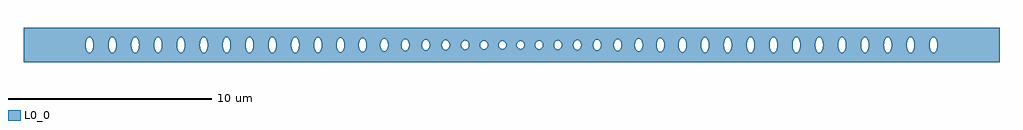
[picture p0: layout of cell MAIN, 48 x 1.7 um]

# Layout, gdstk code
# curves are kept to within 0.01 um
import gdstk
lib = gdstk.Library(unit=1e-6, precision=1e-09)
def P(c, l, *ps):  # polygons
    for p in ps: c.add(gdstk.Polygon(p, *l))
L0_0 = (0, 0)

main = lib.new_cell('MAIN')
P(main, L0_0, [(-20.788,-0.387),(-20.849,-0.342),(-20.9,-0.253),(-20.9,-0.85),(-20.788,-0.85)],
  [(-20.783,0.389),(-20.71,0.383),(-20.658,0.339),(-20.607,0.248),(-20.576,0.132),(-20.576,0.85),(-20.788,0.85)],
  [(-20.576,-0.132),(-20.607,-0.248),(-20.658,-0.339),(-20.726,-0.389),(-20.788,-0.387),(-20.788,-0.85),(-20.576,-0.85)],
  [(24,0.85),(20.9,0.85),(20.9,0.253),(20.944,0.028),(20.936,-0.116),(20.9,-0.253),(20.9,-0.85),(24,-0.85)],
  [(-19.72,0.347),(-19.653,0.391),(-19.586,0.383),(-19.529,0.333),(-19.483,0.248),(-19.483,0.85),(-19.724,0.85)],
  [(-19.483,-0.248),(-19.536,-0.342),(-19.591,-0.385),(-19.653,-0.391),(-19.724,-0.342),(-19.724,-0.85),(-19.483,-0.85)],
  [(-19.82,0.006),(-19.797,0.188),(-19.724,0.342),(-19.724,0.85),(-20.576,0.85),(-20.565,0)],
  [(-18.648,0.261),(-18.598,0.345),(-18.529,0.391),(-18.462,0.383),(-18.407,0.336),(-18.407,0.85),(-18.65,0.85)],
  [(-18.407,-0.336),(-18.462,-0.383),(-18.529,-0.391),(-18.598,-0.345),(-18.65,-0.257),(-18.65,-0.85),(-18.407,-0.85)],
  [(-18.695,0.006),(-18.685,0.132),(-18.65,0.257),(-18.65,0.85),(-19.483,0.85),(-19.483,0.248),(-19.449,0.116),(-19.441,0)],
  [(-17.557,0.147),(-17.524,0.261),(-17.469,0.35),(-17.405,0.391),(-17.346,0.386),(-17.346,0.85),(-17.558,0.85)],
  [(-17.346,-0.386),(-17.405,-0.391),(-17.476,-0.342),(-17.524,-0.261),(-17.558,-0.142),(-17.558,-0.85),(-17.346,-0.85)],
  [(-17.571,0.006),(-17.558,0.142),(-17.558,0.85),(-18.407,0.85),(-18.407,0.336),(-18.339,0.188),(-18.317,0)],
  [(-16.447,0.011),(-16.432,0.153),(-16.398,0.265),(-16.34,0.355),(-16.286,0.389),(-16.286,0.85),(-16.447,0.85)],
  [(-16.286,-0.389),(-16.34,-0.355),(-16.398,-0.265),(-16.436,-0.132),(-16.447,-0.006),(-16.447,-0.85),(-16.286,-0.85)],
  [(-16.28,0.391),(-16.213,0.383),(-16.154,0.33),(-16.105,0.235),(-16.077,0.121),(-16.077,0.85),(-16.286,0.85)],
  [(-16.077,-0.121),(-16.11,-0.248),(-16.161,-0.339),(-16.213,-0.383),(-16.286,-0.389),(-16.286,-0.85),(-16.077,-0.85)],
  [(-16.447,0.006),(-16.447,0.85),(-17.346,0.85),(-17.346,0.386),(-17.285,0.339),(-17.236,0.253),(-17.201,0.121),(-17.192,0)],
  [(-15.218,0.352),(-15.156,0.391),(-15.089,0.383),(-15.023,0.321),(-14.983,0.239),(-14.983,0.85),(-15.222,0.85)],
  [(-14.983,-0.239),(-15.023,-0.321),(-15.089,-0.383),(-15.156,-0.391),(-15.222,-0.347),(-15.222,-0.85),(-14.983,-0.85)],
  [(-15.323,0.006),(-15.296,0.202),(-15.222,0.347),(-15.222,0.85),(-16.077,0.85),(-16.068,0)],
  [(-14.147,0.269),(-14.101,0.345),(-14.032,0.391),(-13.965,0.383),(-13.908,0.333),(-13.908,0.85),(-14.149,0.85)],
  [(-13.908,-0.333),(-13.965,-0.383),(-14.032,-0.391),(-14.101,-0.345),(-14.149,-0.265),(-14.149,-0.85),(-13.908,-0.85)],
  [(-14.198,0.006),(-14.188,0.132),(-14.149,0.265),(-14.149,0.85),(-14.983,0.85),(-14.983,0.239),(-14.951,0.11),(-14.944,0)],
  [(-13.059,0.153),(-13.027,0.261),(-12.972,0.35),(-12.908,0.391),(-12.843,0.384),(-12.843,0.85),(-13.06,0.85)],
  [(-12.843,-0.384),(-12.908,-0.391),(-12.972,-0.35),(-13.027,-0.261),(-13.06,-0.147),(-13.06,-0.85),(-12.843,-0.85)],
  [(-13.074,0.006),(-13.06,0.147),(-13.06,0.85),(-13.908,0.85),(-13.908,0.333),(-13.842,0.188),(-13.819,0)],
  [(-11.95,0.022),(-11.931,0.173),(-11.899,0.269),(-11.838,0.36),(-11.783,0.391),(-11.783,0.85),(-11.95,0.85)],
  [(-11.783,-0.391),(-11.838,-0.36),(-11.899,-0.269),(-11.931,-0.173),(-11.95,-0.017),(-11.95,-0.85),(-11.783,-0.85)],
  [(-11.778,0.392),(-11.716,0.383),(-11.657,0.33),(-11.608,0.235),(-11.579,0.11),(-11.579,0.85),(-11.783,0.85)],
  [(-11.579,-0.11),(-11.608,-0.235),(-11.657,-0.33),(-11.716,-0.383),(-11.783,-0.391),(-11.783,-0.85),(-11.579,-0.85)],
  [(-11.95,0.006),(-11.95,0.85),(-12.843,0.85),(-12.843,0.384),(-12.788,0.339),(-12.739,0.253),(-12.704,0.121),(-12.695,0)],
  [(-10.715,0.355),(-10.66,0.387),(-10.593,0.38),(-10.531,0.325),(-10.483,0.229),(-10.483,0.85),(-10.72,0.85)],
  [(-10.483,-0.229),(-10.531,-0.325),(-10.593,-0.38),(-10.66,-0.387),(-10.72,-0.35),(-10.72,-0.85),(-10.483,-0.85)],
  [(-10.826,0.006),(-10.796,0.211),(-10.72,0.35),(-10.72,0.85),(-11.579,0.85),(-11.571,0)],
  [(-9.65,0.269),(-9.601,0.34),(-9.532,0.378),(-9.472,0.369),(-9.403,0.304),(-9.403,0.85),(-9.652,0.85)],
  [(-9.403,-0.304),(-9.472,-0.369),(-9.532,-0.378),(-9.601,-0.34),(-9.652,-0.266),(-9.652,-0.85),(-9.403,-0.85)],
  [(-9.706,0.003),(-9.687,0.167),(-9.652,0.266),(-9.652,0.85),(-10.483,0.85),(-10.483,0.229),(-10.454,0.11),(-10.447,0)],
  [(-8.574,0.18),(-8.529,0.282),(-8.47,0.344),(-8.404,0.363),(-8.336,0.334),(-8.336,0.85),(-8.575,0.85)],
  [(-8.336,-0.334),(-8.404,-0.363),(-8.47,-0.344),(-8.529,-0.282),(-8.575,-0.175),(-8.575,-0.85),(-8.336,-0.85)],
  [(-8.599,0.005),(-8.575,0.175),(-8.575,0.85),(-9.403,0.85),(-9.403,0.304),(-9.348,0.175),(-9.327,0)],
  [(-7.502,0.103),(-7.474,0.205),(-7.416,0.298),(-7.35,0.339),(-7.279,0.334),(-7.279,0.85),(-7.503,0.85)],
  [(-7.279,-0.334),(-7.35,-0.339),(-7.416,-0.298),(-7.474,-0.205),(-7.503,-0.098),(-7.503,-0.85),(-7.279,-0.85)],
  [(-7.511,0.005),(-7.503,0.85),(-8.336,0.85),(-8.336,0.334),(-8.29,0.282),(-8.252,0.203),(-8.22,0)],
  [(-6.445,0.05),(-6.418,0.172),(-6.369,0.259),(-6.307,0.309),(-6.233,0.317),(-6.233,0.85),(-6.446,0.85)],
  [(-6.233,-0.317),(-6.307,-0.309),(-6.369,-0.259),(-6.418,-0.172),(-6.446,-0.045),(-6.446,-0.85),(-6.233,-0.85)],
  [(-6.447,0.005),(-6.446,0.85),(-7.279,0.85),(-7.279,0.334),(-7.225,0.295),(-7.173,0.213),(-7.139,0.093),(-7.132,0)],
  [(-5.409,0.036),(-5.385,0.15),(-5.328,0.245),(-5.271,0.285),(-5.191,0.291),(-5.191,0.85),(-5.41,0.85)],
  [(-5.191,-0.291),(-5.271,-0.285),(-5.328,-0.245),(-5.385,-0.15),(-5.41,-0.031),(-5.41,-0.85),(-5.191,-0.85)],
  [(-5.411,0.002),(-5.41,0.85),(-6.233,0.85),(-6.233,0.317),(-6.162,0.276),(-6.112,0.205),(-6.084,0.128),(-6.068,0)],
  [(-4.399,0.058),(-4.362,0.17),(-4.305,0.238),(-4.231,0.27),(-4.154,0.257),(-4.154,0.85),(-4.4,0.85)],
  [(-4.154,-0.257),(-4.231,-0.27),(-4.305,-0.238),(-4.362,-0.17),(-4.4,-0.053),(-4.4,-0.85),(-4.154,-0.85)],
  [(-4.403,0.002),(-4.4,0.85),(-5.191,0.85),(-5.191,0.291),(-5.124,0.254),(-5.081,0.199),(-5.045,0.109),(-5.032,0)],
  [(-3.405,0.109),(-3.355,0.192),(-3.28,0.241),(-3.205,0.245),(-3.122,0.199),(-3.122,0.85),(-3.407,0.85)],
  [(-3.122,-0.199),(-3.205,-0.245),(-3.28,-0.241),(-3.355,-0.192),(-3.407,-0.105),(-3.407,-0.85),(-3.122,-0.85)],
  [(-3.425,0.002),(-3.407,0.105),(-3.407,0.85),(-4.154,0.85),(-4.154,0.257),(-4.102,0.219),(-4.059,0.157),(-4.024,0)],
  [(-2.404,0.175),(-2.333,0.22),(-2.248,0.224),(-2.168,0.181),(-2.113,0.099),(-2.113,0.85),(-2.41,0.85)],
  [(-2.113,-0.099),(-2.168,-0.181),(-2.248,-0.224),(-2.333,-0.22),(-2.41,-0.17),(-2.41,-0.85),(-2.113,-0.85)],
  [(-2.473,0.004),(-2.453,0.103),(-2.41,0.17),(-2.41,0.85),(-3.122,0.85),(-3.122,0.199),(-3.07,0.123),(-3.046,0)],
  [(-1.546,0.004),(-1.537,0.065),(-1.504,0.133),(-1.448,0.185),(-1.382,0.209),(-1.382,0.85),(-2.113,0.85),(-2.113,0.099),(-2.094,0)],
  [(-0.633,0.044),(-0.596,0.126),(-0.518,0.187),(-0.429,0.2),(-0.341,0.166),(-0.341,0.85),(-0.634,0.85)],
  [(-0.341,-0.166),(-0.429,-0.2),(-0.518,-0.187),(-0.596,-0.126),(-0.634,-0.04),(-0.634,-0.85),(-0.341,-0.85)],
  [(-0.637,0.004),(-0.634,0.85),(-1.382,0.85),(-1.382,0.209),(-1.305,0.204),(-1.237,0.165),(-1.188,0.099),(-1.167,0)],
  [(0.348,0.17),(0.429,0.2),(0.518,0.187),(0.596,0.126),(0.634,0.04),(0.634,0.85),(0.341,0.85)],
  [(0.634,-0.04),(0.596,-0.126),(0.518,-0.187),(0.429,-0.2),(0.341,-0.166),(0.341,-0.85),(0.634,-0.85)],
  [(0.258,0.004),(0.281,0.096),(0.341,0.166),(0.341,0.85),(-0.341,0.85),(-0.341,0.166),(-0.281,0.096),(-0.258,0)],
  [(1.167,0.004),(1.188,0.099),(1.237,0.165),(1.305,0.204),(1.378,0.21),(1.378,0.85),(0.634,0.85),(0.637,0)],
  [(2.113,0.099),(2.168,0.181),(2.248,0.224),(2.333,0.22),(2.407,0.172),(2.407,0.85),(2.111,0.85)],
  [(2.407,-0.172),(2.333,-0.22),(2.248,-0.224),(2.168,-0.181),(2.111,-0.095),(2.111,-0.85),(2.407,-0.85)],
  [(2.094,0.004),(2.111,0.095),(2.111,0.85),(1.378,0.85),(1.378,0.21),(1.448,0.185),(1.504,0.133),(1.537,0.065),(1.546,0)],
  [(3.126,0.203),(3.2,0.244),(3.291,0.237),(3.359,0.188),(3.406,0.107),(3.406,0.85),(3.121,0.85)],
  [(3.406,-0.107),(3.359,-0.188),(3.288,-0.238),(3.2,-0.244),(3.121,-0.197),(3.121,-0.85),(3.406,-0.85)],
  [(3.046,0.002),(3.066,0.113),(3.121,0.197),(3.121,0.85),(2.407,0.85),(2.407,0.172),(2.453,0.103),(2.473,0)],
  [(4.159,0.259),(4.232,0.27),(4.312,0.232),(4.367,0.16),(4.399,0.055),(4.399,0.85),(4.152,0.85)],
  [(4.399,-0.055),(4.367,-0.16),(4.312,-0.232),(4.232,-0.27),(4.152,-0.256),(4.152,-0.85),(4.399,-0.85)],
  [(4.024,0.002),(4.058,0.155),(4.098,0.215),(4.152,0.256),(4.152,0.85),(3.406,0.85),(3.406,0.107),(3.425,0)],
  [(5.193,0.292),(5.267,0.287),(5.334,0.238),(5.381,0.16),(5.409,0.039),(5.409,0.85),(5.187,0.85)],
  [(5.409,-0.039),(5.381,-0.16),(5.334,-0.238),(5.267,-0.287),(5.187,-0.29),(5.187,-0.85),(5.409,-0.85)],
  [(5.032,0.002),(5.048,0.12),(5.076,0.19),(5.131,0.26),(5.187,0.29),(5.187,0.85),(4.399,0.85),(4.403,0)],
  [(6.236,0.317),(6.307,0.309),(6.369,0.259),(6.418,0.172),(6.445,0.05),(6.445,0.85),(6.23,0.85)],
  [(6.445,-0.05),(6.418,-0.172),(6.369,-0.259),(6.307,-0.309),(6.23,-0.316),(6.23,-0.85),(6.445,-0.85)],
  [(6.068,0.005),(6.084,0.128),(6.112,0.205),(6.162,0.276),(6.23,0.316),(6.23,0.85),(5.409,0.85),(5.411,0)],
  [(7.284,0.336),(7.35,0.339),(7.416,0.298),(7.474,0.205),(7.503,0.098),(7.503,0.85),(7.279,0.85)],
  [(7.503,-0.098),(7.474,-0.205),(7.416,-0.298),(7.35,-0.339),(7.279,-0.334),(7.279,-0.85),(7.503,-0.85)],
  [(7.132,0.005),(7.139,0.093),(7.173,0.213),(7.225,0.295),(7.279,0.334),(7.279,0.85),(6.445,0.85),(6.447,0)],
  [(8.341,0.338),(8.404,0.363),(8.476,0.34),(8.529,0.282),(8.574,0.18),(8.574,0.85),(8.336,0.85)],
  [(8.574,-0.18),(8.529,-0.282),(8.47,-0.344),(8.404,-0.363),(8.336,-0.334),(8.336,-0.85),(8.574,-0.85)],
  [(8.22,0.005),(8.252,0.203),(8.29,0.282),(8.336,0.334),(8.336,0.85),(7.503,0.85),(7.511,0)],
  [(9.404,0.305),(9.463,0.364),(9.525,0.379),(9.59,0.35),(9.649,0.271),(9.649,0.85),(9.4,0.85)],
  [(9.649,-0.271),(9.59,-0.35),(9.525,-0.379),(9.455,-0.359),(9.4,-0.299),(9.4,-0.85),(9.649,-0.85)],
  [(9.327,0.003),(9.346,0.167),(9.4,0.299),(9.4,0.85),(8.574,0.85),(8.574,0.18),(8.599,0)],
  [(10.483,0.229),(10.531,0.325),(10.593,0.38),(10.66,0.387),(10.72,0.35),(10.72,0.85),(10.481,0.85)],
  [(10.72,-0.35),(10.66,-0.387),(10.593,-0.38),(10.531,-0.325),(10.481,-0.225),(10.481,-0.85),(10.72,-0.85)],
  [(10.447,0.006),(10.481,0.225),(10.481,0.85),(9.649,0.85),(9.649,0.271),(9.691,0.15),(9.706,0)],
  [(11.579,0.116),(11.608,0.235),(11.657,0.33),(11.716,0.383),(11.783,0.391),(11.783,0.85),(11.579,0.85)],
  [(11.783,-0.391),(11.716,-0.383),(11.657,-0.33),(11.608,-0.235),(11.579,-0.11),(11.579,-0.85),(11.783,-0.85)],
  [(11.95,0.85),(11.783,0.85),(11.783,0.391),(11.838,0.36),(11.899,0.269),(11.931,0.173),(11.95,0.022)],
  [(11.95,-0.022),(11.931,-0.173),(11.899,-0.269),(11.838,-0.36),(11.783,-0.391),(11.783,-0.85),(11.95,-0.85)],
  [(11.571,0.006),(11.579,0.85),(10.72,0.85),(10.72,0.35),(10.796,0.211),(10.826,0)],
  [(12.846,0.385),(12.908,0.391),(12.972,0.35),(13.027,0.261),(13.059,0.153),(13.059,0.85),(12.841,0.85)],
  [(13.059,-0.153),(13.027,-0.261),(12.972,-0.35),(12.908,-0.391),(12.841,-0.383),(12.841,-0.85),(13.059,-0.85)],
  [(12.695,0.006),(12.704,0.121),(12.739,0.253),(12.788,0.339),(12.841,0.383),(12.841,0.85),(11.95,0.85),(11.95,0)],
  [(13.91,0.336),(13.965,0.383),(14.032,0.391),(14.101,0.345),(14.149,0.265),(14.149,0.85),(13.906,0.85)],
  [(14.149,-0.265),(14.101,-0.345),(14.032,-0.391),(13.965,-0.383),(13.906,-0.33),(13.906,-0.85),(14.149,-0.85)],
  [(13.819,0.006),(13.842,0.188),(13.906,0.33),(13.906,0.85),(13.059,0.85),(13.059,0.153),(13.074,0)],
  [(14.984,0.244),(15.032,0.333),(15.089,0.383),(15.156,0.391),(15.222,0.347),(15.222,0.85),(14.983,0.85)],
  [(15.222,-0.347),(15.156,-0.391),(15.089,-0.383),(15.023,-0.321),(14.983,-0.239),(14.983,-0.85),(15.222,-0.85)],
  [(14.944,0.006),(14.952,0.116),(14.983,0.239),(14.983,0.85),(14.149,0.85),(14.149,0.265),(14.188,0.132),(14.198,0)],
  [(16.078,0.126),(16.105,0.235),(16.154,0.33),(16.213,0.383),(16.283,0.39),(16.283,0.85),(16.077,0.85)],
  [(16.283,-0.39),(16.213,-0.383),(16.154,-0.33),(16.105,-0.235),(16.077,-0.121),(16.077,-0.85),(16.283,-0.85)],
  [(16.447,0.85),(16.283,0.85),(16.283,0.39),(16.34,0.355),(16.398,0.265),(16.432,0.153),(16.447,0.011)],
  [(16.447,-0.011),(16.432,-0.153),(16.398,-0.265),(16.34,-0.355),(16.283,-0.39),(16.283,-0.85),(16.447,-0.85)],
  [(16.068,0.006),(16.077,0.85),(15.222,0.85),(15.222,0.347),(15.296,0.202),(15.323,0)],
  [(17.348,0.387),(17.405,0.391),(17.476,0.342),(17.524,0.261),(17.558,0.142),(17.558,0.85),(17.343,0.85)],
  [(17.558,-0.142),(17.524,-0.261),(17.469,-0.35),(17.405,-0.391),(17.343,-0.385),(17.343,-0.85),(17.558,-0.85)],
  [(17.192,0.006),(17.201,0.121),(17.236,0.253),(17.285,0.339),(17.343,0.385),(17.343,0.85),(16.447,0.85),(16.447,0)],
  [(18.412,0.342),(18.462,0.383),(18.532,0.39),(18.598,0.345),(18.65,0.257),(18.65,0.85),(18.407,0.85)],
  [(18.65,-0.257),(18.598,-0.345),(18.529,-0.391),(18.462,-0.383),(18.407,-0.336),(18.407,-0.85),(18.65,-0.85)],
  [(18.317,0.006),(18.339,0.188),(18.407,0.336),(18.407,0.85),(17.558,0.85),(17.558,0.142),(17.571,0)],
  [(19.485,0.253),(19.536,0.342),(19.591,0.385),(19.653,0.391),(19.722,0.345),(19.722,0.85),(19.483,0.85)],
  [(19.722,-0.345),(19.653,-0.391),(19.586,-0.383),(19.529,-0.333),(19.483,-0.248),(19.483,-0.85),(19.722,-0.85)],
  [(19.441,0.006),(19.449,0.116),(19.483,0.248),(19.483,0.85),(18.65,0.85),(18.65,0.257),(18.685,0.132),(18.696,0)],
  [(20.576,0.132),(20.607,0.248),(20.658,0.339),(20.71,0.383),(20.785,0.388),(20.785,0.85),(20.575,0.85)],
  [(20.785,-0.388),(20.71,-0.383),(20.658,-0.339),(20.607,-0.248),(20.575,-0.126),(20.575,-0.85),(20.785,-0.85)],
  [(-20.9,-0.253),(-20.944,-0.028),(-20.936,0.116),(-20.9,0.253),(-20.9,0.85),(-24,0.85),(-24,-0.85),(-20.9,-0.85)],
  [(-20.898,0.257),(-20.849,0.342),(-20.788,0.387),(-20.788,0.85),(-20.9,0.85)],
  [(20.9,0.85),(20.785,0.85),(20.785,0.388),(20.849,0.342),(20.9,0.253)],
  [(20.9,-0.253),(20.849,-0.342),(20.785,-0.388),(20.785,-0.85),(20.9,-0.85)],
  [(-19.724,-0.342),(-19.797,-0.188),(-19.82,0),(-20.565,0),(-20.576,-0.85),(-19.724,-0.85)],
  [(-18.65,-0.257),(-18.685,-0.132),(-18.696,0),(-19.441,0),(-19.449,-0.116),(-19.483,-0.248),(-19.483,-0.85),(-18.65,-0.85)],
  [(-17.558,-0.142),(-17.571,0),(-18.317,0),(-18.339,-0.188),(-18.407,-0.336),(-18.407,-0.85),(-17.558,-0.85)],
  [(-16.447,-0.006),(-17.192,0),(-17.201,-0.121),(-17.236,-0.253),(-17.285,-0.339),(-17.346,-0.386),(-17.346,-0.85),(-16.447,-0.85)],
  [(-15.222,-0.347),(-15.296,-0.202),(-15.323,0),(-16.068,0),(-16.077,-0.85),(-15.222,-0.85)],
  [(-14.149,-0.265),(-14.188,-0.132),(-14.198,0),(-14.944,0),(-14.951,-0.11),(-14.983,-0.239),(-14.983,-0.85),(-14.149,-0.85)],
  [(-13.06,-0.147),(-13.074,0),(-13.819,0),(-13.842,-0.188),(-13.908,-0.333),(-13.908,-0.85),(-13.06,-0.85)],
  [(-11.95,-0.017),(-11.95,0),(-12.695,0),(-12.704,-0.121),(-12.739,-0.253),(-12.788,-0.339),(-12.843,-0.384),(-12.843,-0.85),(-11.95,-0.85)],
  [(-10.72,-0.35),(-10.796,-0.211),(-10.826,0),(-11.571,0),(-11.579,-0.85),(-10.72,-0.85)],
  [(-9.652,-0.266),(-9.687,-0.167),(-9.706,0),(-10.447,0),(-10.454,-0.11),(-10.483,-0.229),(-10.483,-0.85),(-9.652,-0.85)],
  [(-8.575,-0.175),(-8.599,0),(-9.327,0),(-9.348,-0.175),(-9.403,-0.304),(-9.403,-0.85),(-8.575,-0.85)],
  [(-7.503,-0.098),(-7.511,0),(-8.22,0),(-8.252,-0.203),(-8.29,-0.282),(-8.336,-0.334),(-8.336,-0.85),(-7.503,-0.85)],
  [(-6.446,-0.045),(-6.447,0),(-7.132,0),(-7.139,-0.093),(-7.173,-0.213),(-7.225,-0.295),(-7.279,-0.334),(-7.279,-0.85),(-6.446,-0.85)],
  [(-5.41,-0.031),(-5.411,0),(-6.068,0),(-6.084,-0.128),(-6.112,-0.205),(-6.162,-0.276),(-6.233,-0.317),(-6.233,-0.85),(-5.41,-0.85)],
  [(-4.4,-0.053),(-4.403,0),(-5.032,0),(-5.045,-0.109),(-5.081,-0.199),(-5.124,-0.254),(-5.191,-0.291),(-5.191,-0.85),(-4.4,-0.85)],
  [(-3.407,-0.105),(-3.425,0),(-4.024,0),(-4.059,-0.157),(-4.102,-0.219),(-4.154,-0.257),(-4.154,-0.85),(-3.407,-0.85)],
  [(-2.41,-0.17),(-2.459,-0.087),(-2.473,0),(-3.046,0),(-3.07,-0.123),(-3.122,-0.199),(-3.122,-0.85),(-2.41,-0.85)],
  [(-1.382,-0.209),(-1.448,-0.185),(-1.504,-0.133),(-1.537,-0.065),(-1.546,0),(-2.094,0),(-2.113,-0.099),(-2.113,-0.85),(-1.382,-0.85)],
  [(-0.634,-0.04),(-0.637,0),(-1.167,0),(-1.188,-0.099),(-1.237,-0.165),(-1.305,-0.204),(-1.382,-0.209),(-1.382,-0.85),(-0.634,-0.85)],
  [(0.341,-0.166),(0.281,-0.096),(0.258,0),(-0.258,0),(-0.279,-0.092),(-0.341,-0.166),(-0.341,-0.85),(0.341,-0.85)],
  [(1.378,-0.21),(1.305,-0.204),(1.237,-0.165),(1.188,-0.099),(1.167,0),(0.637,0),(0.634,-0.85),(1.378,-0.85)],
  [(2.111,-0.095),(2.094,0),(1.546,0),(1.537,-0.065),(1.504,-0.133),(1.448,-0.185),(1.378,-0.21),(1.378,-0.85),(2.111,-0.85)],
  [(3.121,-0.197),(3.066,-0.113),(3.046,0),(2.473,0),(2.453,-0.103),(2.407,-0.172),(2.407,-0.85),(3.121,-0.85)],
  [(4.152,-0.256),(4.098,-0.215),(4.058,-0.155),(4.024,0),(3.425,0),(3.406,-0.107),(3.406,-0.85),(4.152,-0.85)],
  [(5.187,-0.29),(5.131,-0.26),(5.076,-0.19),(5.048,-0.12),(5.032,0),(4.403,0),(4.399,-0.85),(5.187,-0.85)],
  [(6.23,-0.316),(6.162,-0.276),(6.112,-0.205),(6.084,-0.128),(6.068,0),(5.411,0),(5.409,-0.85),(6.23,-0.85)],
  [(7.279,-0.334),(7.225,-0.295),(7.173,-0.213),(7.139,-0.093),(7.132,0),(6.447,0),(6.445,-0.85),(7.279,-0.85)],
  [(8.336,-0.334),(8.29,-0.282),(8.252,-0.203),(8.22,0),(7.511,0),(7.503,-0.85),(8.336,-0.85)],
  [(9.4,-0.299),(9.346,-0.167),(9.327,0),(8.599,0),(8.574,-0.18),(8.574,-0.85),(9.4,-0.85)],
  [(10.481,-0.225),(10.447,0),(9.706,0),(9.691,-0.15),(9.649,-0.271),(9.649,-0.85),(10.481,-0.85)],
  [(11.579,-0.11),(11.571,0),(10.826,0),(10.796,-0.211),(10.72,-0.35),(10.72,-0.85),(11.579,-0.85)],
  [(12.841,-0.383),(12.788,-0.339),(12.739,-0.253),(12.704,-0.121),(12.695,0),(11.95,0),(11.95,-0.85),(12.841,-0.85)],
  [(13.906,-0.33),(13.842,-0.188),(13.819,0),(13.074,0),(13.059,-0.153),(13.059,-0.85),(13.906,-0.85)],
  [(14.983,-0.239),(14.951,-0.11),(14.944,0),(14.198,0),(14.188,-0.132),(14.149,-0.265),(14.149,-0.85),(14.983,-0.85)],
  [(16.077,-0.121),(16.068,0),(15.323,0),(15.296,-0.202),(15.222,-0.347),(15.222,-0.85),(16.077,-0.85)],
  [(17.343,-0.385),(17.285,-0.339),(17.236,-0.253),(17.201,-0.121),(17.192,0),(16.447,0),(16.447,-0.85),(17.343,-0.85)],
  [(18.407,-0.336),(18.339,-0.188),(18.317,0),(17.571,0),(17.558,-0.142),(17.558,-0.85),(18.407,-0.85)],
  [(19.483,-0.248),(19.449,-0.116),(19.441,0),(18.696,0),(18.685,-0.132),(18.65,-0.257),(18.65,-0.85),(19.483,-0.85)],
  [(20.575,-0.126),(20.565,0),(19.82,0),(19.797,-0.188),(19.722,-0.345),(19.722,-0.85),(20.575,-0.85)],
  [(20.565,0.006),(20.575,0.85),(19.722,0.85),(19.722,0.345),(19.797,0.188),(19.82,0)])

lib.write_gds('MAIN.gds')
